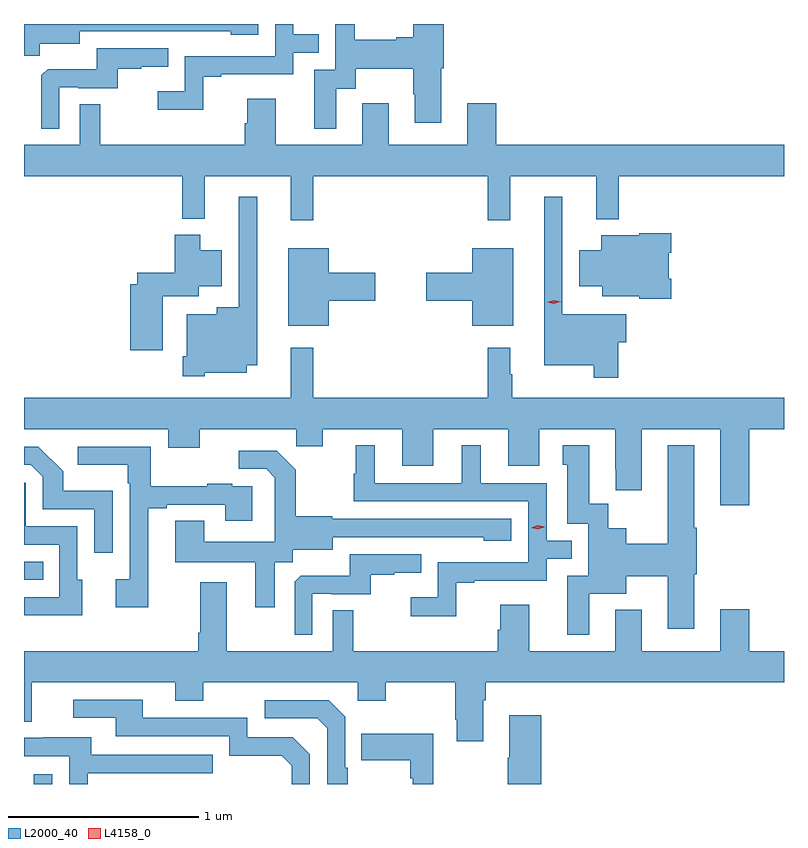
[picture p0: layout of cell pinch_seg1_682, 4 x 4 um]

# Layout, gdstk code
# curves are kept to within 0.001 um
import gdstk
lib = gdstk.Library(unit=1e-6, precision=1e-09)
def R(c, l, rs):  # rectangles x0, y0, x1, y1
    for r in rs: c.add(gdstk.rectangle(r[:2], r[2:], *l))
def P(c, l, *ps):  # polygons
    for p in ps: c.add(gdstk.Polygon(p, *l))
L2000_40 = (2000, 40)
L4158_0 = (4158, 0)

pinch_seg1_682 = lib.new_cell('pinch_seg1_682')
R(pinch_seg1_682, L2000_40, [(648.563,568.512,648.66,568.564), (648.511,569.586,648.611,569.682)])
P(pinch_seg1_682, L2000_40, [(650.155,572.17),(650.257,572.17),(650.257,572.276),(650.56,572.276),(650.56,572.142),(650.567,572.142),(650.567,571.992),(650.707,571.992),(650.707,572.28),(650.72,572.28),(650.72,572.512),(650.56,572.512),(650.56,572.441),(650.471,572.441),(650.471,572.428),(650.253,572.428),(650.253,572.512),(650.148,572.512),(650.148,572.271),(650.039,572.271),(650.039,571.962),(650.155,571.962)],
  [(649.455,572.235),(649.549,572.235),(649.549,572.247),(649.929,572.247),(649.929,572.361),(650.063,572.361),(650.063,572.457),(649.929,572.457),(649.929,572.512),(649.833,572.512),(649.833,572.343),(649.356,572.343),(649.356,572.158),(649.215,572.158),(649.215,572.06),(649.455,572.06)],
  [(648.594,572.408),(648.805,572.408),(648.805,572.475),(649.363,572.475),(649.363,572.474),(649.599,572.474),(649.599,572.456),(649.744,572.456),(649.744,572.512),(648.511,572.512),(648.511,572.344),(648.594,572.344)],
  [(648.696,572.178),(648.796,572.178),(648.796,572.175),(649.004,572.175),(649.004,572.277),(649.127,572.277),(649.127,572.288),(649.271,572.288),(649.271,572.385),(648.894,572.385),(648.894,572.273),(648.635,572.273),(648.603,572.241),(648.603,571.961),(648.696,571.961)],
  [(650.033,571.712),(650.953,571.712),(650.953,571.479),(651.071,571.479),(651.071,571.712),(651.524,571.712),(651.524,571.484),(651.641,571.484),(651.641,571.712),(652.511,571.712),(652.511,571.876),(650.996,571.876),(650.996,572.095),(650.843,572.095),(650.843,571.876),(650.431,571.876),(650.431,572.095),(650.291,572.095),(650.291,571.876),(649.837,571.876),(649.837,572.119),(649.685,572.119),(649.685,571.989),(649.673,571.989),(649.673,571.876),(648.913,571.876),(648.913,572.09),(648.804,572.09),(648.804,571.876),(648.511,571.876),(648.511,571.712),(649.345,571.712),(649.345,571.487),(649.463,571.487),(649.463,571.712),(649.916,571.712),(649.916,571.479),(650.033,571.479)],
  [(649.461,570.677),(649.684,570.677),(649.684,570.716),(649.738,570.716),(649.738,571.603),(649.641,571.603),(649.641,571.021),(649.526,571.021),(649.526,570.985),(649.367,570.985),(649.367,570.763),(649.346,570.763),(649.346,570.659),(649.461,570.659)],
  [(651.638,570.838),(651.682,570.838),(651.682,570.985),(651.345,570.985),(651.345,571.603),(651.248,571.603),(651.248,570.716),(651.51,570.716),(651.51,570.651),(651.638,570.651)],
  [(651.917,571.171),(651.904,571.171),(651.904,571.307),(651.917,571.307),(651.917,571.411),(651.75,571.411),(651.75,571.399),(651.548,571.399),(651.548,571.321),(651.434,571.321),(651.434,571.133),(651.554,571.133),(651.554,571.079),(651.75,571.079),(651.75,571.067),(651.917,571.067)],
  [(649.24,571.079),(649.432,571.079),(649.432,571.133),(649.552,571.133),(649.552,571.321),(649.438,571.321),(649.438,571.402),(649.304,571.402),(649.304,571.202),(649.106,571.202),(649.106,571.143),(649.07,571.143),(649.07,570.795),(649.24,570.795)],
  [(650.116,571.055),(650.359,571.055),(650.359,571.202),(650.116,571.202),(650.116,571.333),(649.901,571.333),(649.901,570.923),(650.116,570.923)],
  [(651.085,571.333),(650.87,571.333),(650.87,571.202),(650.628,571.202),(650.628,571.055),(650.87,571.055),(650.87,570.923),(651.085,570.923)],
  [(650.953,570.808),(650.953,570.544),(650.033,570.544),(650.033,570.808),(649.915,570.808),(649.915,570.544),(648.511,570.544),(648.511,570.38),(649.271,570.38),(649.271,570.281),(649.435,570.281),(649.435,570.38),(649.945,570.38),(649.945,570.29),(650.083,570.29),(650.083,570.38),(650.501,570.38),(650.501,570.186),(650.665,570.186),(650.665,570.38),(651.059,570.38),(651.059,570.186),(651.223,570.186),(651.223,570.38),(651.623,570.38),(651.623,570.169),(651.626,570.169),(651.626,570.057),(651.763,570.057),(651.763,570.38),(652.175,570.38),(652.175,569.979),(652.328,569.979),(652.328,570.38),(652.511,570.38),(652.511,570.544),(651.082,570.544),(651.082,570.668),(651.07,570.668),(651.07,570.808)],
  [(651.487,569.513),(651.682,569.513),(651.682,569.605),(651.899,569.605),(651.899,569.328),(652.039,569.328),(652.039,569.616),(652.052,569.616),(652.052,569.86),(652.039,569.86),(652.039,570.295),(651.899,570.295),(651.899,569.777),(651.682,569.777),(651.682,569.857),(651.585,569.857),(651.585,569.987),(651.487,569.987),(651.487,570.295),(651.347,570.295),(651.347,570.192),(651.371,570.192),(651.371,569.883),(651.48,569.883),(651.48,569.607),(651.371,569.607),(651.371,569.298),(651.487,569.298)],
  [(650.787,569.571),(650.881,569.571),(650.881,569.583),(651.261,569.583),(651.261,569.697),(651.394,569.697),(651.394,569.793),(651.261,569.793),(651.261,570.096),(650.914,570.096),(650.914,570.295),(650.816,570.295),(650.816,570.096),(650.356,570.096),(650.356,570.295),(650.258,570.295),(650.258,570.144),(650.247,570.144),(650.247,570),(651.165,570),(651.165,569.679),(650.688,569.679),(650.688,569.494),(650.547,569.494),(650.547,569.396),(650.787,569.396)],
  [(649.165,569.964),(649.261,569.964),(649.261,569.982),(649.571,569.982),(649.571,569.898),(649.711,569.898),(649.711,570.078),(649.607,570.078),(649.607,570.091),(649.475,570.091),(649.475,570.08),(649.177,570.08),(649.177,570.288),(648.795,570.288),(648.795,570.191),(649.056,570.191),(649.056,570.095),(649.068,570.095),(649.068,569.59),(648.993,569.59),(648.993,569.442),(649.165,569.442)],
  [(648.978,570.055),(648.717,570.055),(648.717,570.158),(648.586,570.288),(648.511,570.288),(648.511,570.192),(648.546,570.192),(648.609,570.129),(648.609,569.958),(648.882,569.958),(648.882,569.73),(648.978,569.73)],
  [(649.831,569.68),(649.926,569.68),(649.926,569.744),(650.137,569.744),(650.137,569.811),(650.931,569.81),(650.931,569.792),(651.076,569.792),(651.076,569.907),(650.133,569.907),(650.133,569.92),(649.941,569.92),(649.941,570.165),(649.841,570.265),(649.641,570.265),(649.641,570.171),(649.785,570.171),(649.832,570.124),(649.832,570.029),(649.83,570.029),(649.83,569.788),(649.459,569.788),(649.459,569.897),(649.307,569.897),(649.307,569.678),(649.727,569.678),(649.727,569.442),(649.831,569.442)],
  [(648.817,569.586),(648.792,569.586),(648.792,569.868),(648.519,569.868),(648.519,570.097),(648.511,570.097),(648.511,569.772),(648.696,569.772),(648.696,569.496),(648.511,569.496),(648.511,569.4),(648.599,569.4),(648.599,569.399),(648.817,569.399)],
  [(650.028,569.514),(650.128,569.514),(650.128,569.511),(650.336,569.511),(650.336,569.613),(650.459,569.613),(650.459,569.624),(650.603,569.624),(650.603,569.721),(650.226,569.721),(650.226,569.609),(649.967,569.609),(649.935,569.577),(649.935,569.297),(650.028,569.297)],
  [(650.929,568.952),(650.942,568.952),(650.942,569.048),(652.511,569.048),(652.511,569.212),(652.328,569.212),(652.328,569.431),(652.175,569.431),(652.175,569.212),(651.763,569.212),(651.763,569.428),(651.623,569.428),(651.623,569.212),(651.169,569.212),(651.169,569.455),(651.017,569.455),(651.017,569.325),(651.005,569.325),(651.005,569.212),(650.245,569.212),(650.245,569.426),(650.136,569.426),(650.136,569.212),(649.579,569.212),(649.579,569.575),(649.439,569.575),(649.439,569.308),(649.427,569.308),(649.427,569.212),(648.511,569.212),(648.511,568.84),(648.553,568.84),(648.553,569.048),(649.307,569.048),(649.307,568.949),(649.455,568.949),(649.455,569.048),(650.268,569.048),(650.268,568.949),(650.415,568.949),(650.415,569.048),(650.782,569.048),(650.782,568.849),(650.789,568.849),(650.789,568.737),(650.929,568.737)],
  [(650.016,568.668),(649.926,568.758),(649.686,568.758),(649.686,568.86),(649.135,568.86),(649.135,568.956),(648.771,568.956),(648.771,568.86),(648.995,568.86),(648.995,568.764),(649.59,568.764),(649.59,568.661),(649.867,568.661),(649.92,568.608),(649.92,568.512),(650.016,568.512)],
  [(650.215,568.597),(650.202,568.597),(650.202,568.866),(650.115,568.953),(649.779,568.953),(649.779,568.857),(650.055,568.857),(650.106,568.806),(650.106,568.512),(650.215,568.512)],
  [(651.233,568.873),(651.065,568.873),(651.065,568.649),(651.058,568.649),(651.058,568.512),(651.233,568.512)],
  [(650.665,568.777),(650.287,568.777),(650.287,568.637),(650.544,568.637),(650.544,568.541),(650.556,568.541),(650.556,568.512),(650.665,568.512)],
  [(648.846,568.569),(649.505,568.569),(649.505,568.665),(648.865,568.665),(648.865,568.759),(648.611,568.759),(648.611,568.755),(648.511,568.755),(648.511,568.659),(648.75,568.659),(648.75,568.512),(648.846,568.512)])
P(pinch_seg1_682, L4158_0, [(651.3,571.039),(651.264,571.047),(651.264,571.048),(651.264,571.048),(651.299,571.059),(651.334,571.051),(651.335,571.051),(651.334,571.051)],
  [(651.216,569.853),(651.181,569.86),(651.18,569.861),(651.181,569.861),(651.214,569.873),(651.249,569.865),(651.25,569.865),(651.249,569.864)])

lib.write_gds('pinch_seg1_682.gds')
